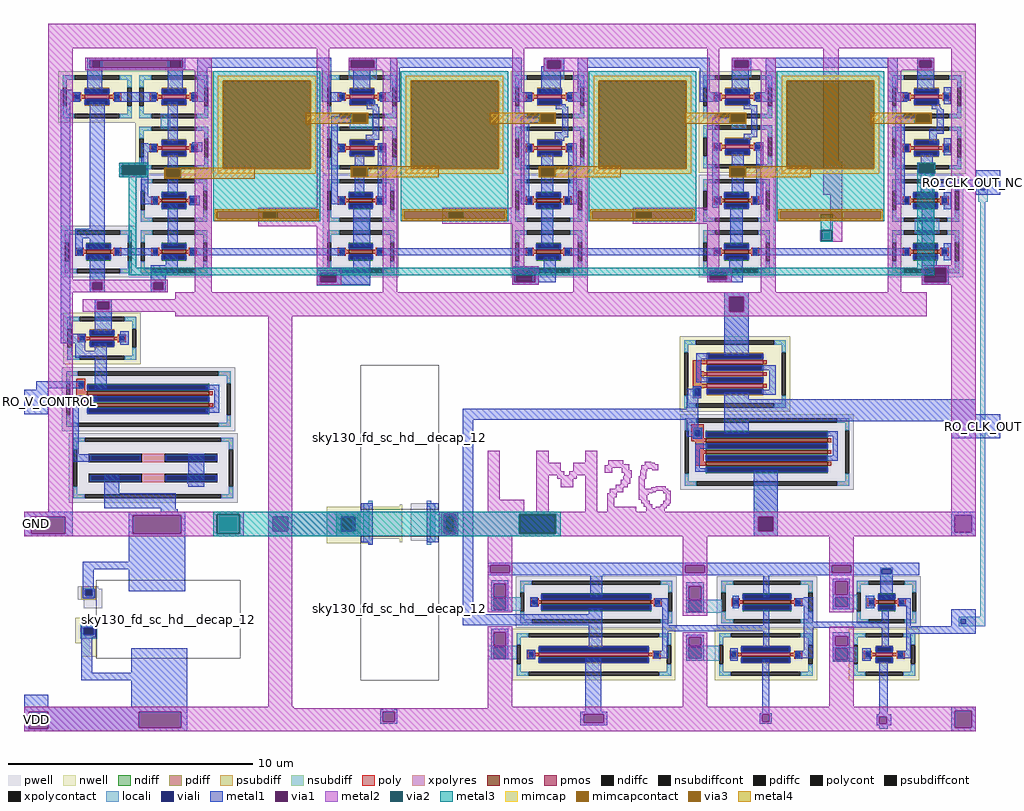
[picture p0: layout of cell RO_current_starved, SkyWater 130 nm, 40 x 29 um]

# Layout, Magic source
magic
tech sky130A
magscale 1 2
<< nwell >>
rect 3256 3008 3426 3012
rect 1880 2720 1900 2740
rect 6310 2590 6430 2660
rect 3350 2470 3420 2510
rect -580 -1680 -400 -1470
rect -530 -1790 -400 -1680
<< pwell >>
rect -560 -1230 -390 -1210
rect -560 -1320 -360 -1230
rect -510 -1391 -360 -1320
<< psubdiff >>
rect -530 -1240 -410 -1210
rect -530 -1290 -500 -1240
rect -440 -1290 -410 -1240
rect -530 -1320 -410 -1290
<< nsubdiff >>
rect -540 -1550 -400 -1520
rect -540 -1610 -510 -1550
rect -430 -1610 -400 -1550
rect -540 -1640 -400 -1610
<< psubdiffcont >>
rect -500 -1290 -440 -1240
<< nsubdiffcont >>
rect -510 -1610 -430 -1550
<< locali >>
rect -480 3100 -360 3120
rect -480 3040 -460 3100
rect -380 3040 -360 3100
rect -480 2940 -360 3040
rect 180 3100 300 3120
rect 180 3040 200 3100
rect 280 3040 300 3100
rect 180 2940 300 3040
rect 1660 3100 1890 3120
rect 1660 3040 1680 3100
rect 1870 3040 1890 3100
rect 1660 2940 1890 3040
rect 3260 3100 3430 3120
rect 3260 3030 3290 3100
rect 3400 3030 3430 3100
rect 3260 3010 3430 3030
rect 3250 2940 3430 3010
rect 4800 3100 4960 3120
rect 4800 3040 4820 3100
rect 4940 3040 4960 3100
rect 4800 2960 4960 3040
rect 6320 3100 6460 3120
rect 6320 3040 6340 3100
rect 6440 3040 6460 3100
rect 6320 2960 6460 3040
rect 120 2540 200 2660
rect 1670 2540 1860 2640
rect 4800 2540 4920 2640
rect 6820 2080 6900 2100
rect 6820 2040 6840 2080
rect 6880 2040 6900 2080
rect 6820 1940 6900 2040
rect 1700 1680 1830 1800
rect 3240 1680 3340 1800
rect 4790 1680 4890 1800
rect 6300 1680 6500 1800
rect -460 1280 -340 1380
rect -460 1220 -440 1280
rect -360 1220 -340 1280
rect -460 1200 -340 1220
rect 40 1280 160 1380
rect 40 1220 60 1280
rect 140 1220 160 1280
rect 1400 1360 1840 1390
rect 1400 1280 1430 1360
rect 1560 1280 1840 1360
rect 1400 1250 1840 1280
rect 3000 1360 3220 1410
rect 6360 1400 6580 1420
rect 3000 1290 3040 1360
rect 3160 1290 3220 1360
rect 3000 1260 3220 1290
rect 4600 1370 4800 1400
rect 4600 1300 4620 1370
rect 4760 1300 4800 1370
rect 4600 1280 4800 1300
rect 6360 1280 6380 1400
rect 6560 1280 6580 1400
rect 6360 1260 6580 1280
rect 40 1200 160 1220
rect -420 1120 -280 1140
rect -420 1060 -400 1120
rect -300 1060 -280 1120
rect -420 960 -280 1060
rect -520 -1240 -420 -1230
rect -520 -1290 -500 -1240
rect -440 -1290 -420 -1240
rect -520 -1310 -420 -1290
rect 6840 -1460 6880 1940
rect 6660 -1480 6880 -1460
rect 6660 -1520 6680 -1480
rect 6720 -1520 6880 -1480
rect -540 -1550 -400 -1520
rect 6660 -1540 6880 -1520
rect -540 -1610 -510 -1550
rect -430 -1610 -400 -1550
rect -540 -1640 -400 -1610
<< viali >>
rect -460 3040 -380 3100
rect 200 3040 280 3100
rect 1680 3040 1870 3100
rect 3290 3030 3400 3100
rect 4820 3040 4940 3100
rect 6340 3040 6440 3100
rect 6840 2040 6880 2080
rect -440 1220 -360 1280
rect 60 1220 140 1280
rect 1430 1280 1560 1360
rect 3040 1290 3160 1360
rect 4620 1300 4760 1370
rect 6380 1280 6560 1400
rect -400 1060 -300 1120
rect -500 -1290 -440 -1240
rect 6680 -1520 6720 -1480
rect -510 -1610 -430 -1550
<< metal1 >>
rect -480 3100 320 3120
rect -480 3040 -460 3100
rect 300 3040 320 3100
rect -480 3020 320 3040
rect 420 3040 1520 3120
rect -700 2840 -600 2860
rect -480 2840 -360 3020
rect 180 2840 300 3020
rect 420 2840 500 3040
rect -700 2760 -540 2840
rect -260 2760 80 2840
rect 380 2760 500 2840
rect 1440 2840 1520 3040
rect 1660 3100 1890 3120
rect 1660 3040 1680 3100
rect 1870 3040 1890 3100
rect 1660 3020 1890 3040
rect 2000 3040 3080 3120
rect 3260 3100 3430 3120
rect 3260 3050 3290 3100
rect 1700 2850 1840 3020
rect 2000 2840 2080 3040
rect 1440 2760 1600 2840
rect -700 860 -620 2760
rect -460 1720 -340 2760
rect 180 2420 260 2760
rect 1810 2740 1880 2770
rect 1920 2760 2080 2840
rect 3000 2840 3080 3040
rect 3240 3030 3290 3050
rect 3400 3030 3430 3100
rect 3240 3010 3430 3030
rect 3540 3040 4620 3120
rect 3240 2840 3400 3010
rect 3540 2840 3620 3040
rect 3000 2760 3160 2840
rect 3460 2760 3620 2840
rect 4540 2840 4620 3040
rect 4800 3100 4960 3120
rect 4800 3040 4820 3100
rect 4940 3040 4960 3100
rect 4800 3020 4960 3040
rect 5080 3040 6160 3120
rect 4800 2840 4940 3020
rect 5080 2840 5160 3040
rect 4540 2760 4700 2840
rect 5000 2760 5160 2840
rect 6080 2840 6160 3040
rect 6320 3100 6460 3120
rect 6320 3040 6340 3100
rect 6440 3040 6460 3100
rect 6320 2850 6460 3040
rect 6080 2760 6240 2840
rect 6540 2740 6600 2880
rect 1810 2720 1900 2740
rect 3360 2720 3440 2740
rect 4900 2730 4960 2740
rect 1810 2700 1910 2720
rect 3360 2700 3460 2720
rect 4900 2700 5010 2730
rect 6440 2710 6510 2740
rect 6440 2700 6520 2710
rect 1680 2660 1820 2670
rect 1680 2640 1690 2660
rect 1520 2590 1690 2640
rect 1810 2590 1820 2660
rect -40 2410 20 2420
rect -40 2350 80 2410
rect 380 2350 460 2430
rect 1520 2410 1570 2590
rect 1680 2580 1820 2590
rect 1860 2490 1910 2700
rect 3220 2660 3360 2670
rect 3220 2640 3230 2660
rect 1800 2450 1910 2490
rect 3070 2590 3230 2640
rect 3350 2590 3360 2660
rect 1800 2420 1870 2450
rect 1520 2350 1620 2410
rect -40 2260 20 2350
rect -220 2240 20 2260
rect -220 2160 -200 2240
rect 0 2160 20 2240
rect 180 2220 260 2340
rect -220 2140 20 2160
rect -40 1980 20 2140
rect 150 2210 290 2220
rect 150 2140 160 2210
rect 280 2140 290 2210
rect 150 2130 290 2140
rect 180 2000 260 2130
rect -40 1920 90 1980
rect -580 1640 -340 1720
rect -580 1500 -520 1640
rect -460 1560 -340 1640
rect 180 1580 260 1920
rect 360 1910 440 1990
rect 1520 1980 1570 2350
rect 1710 2230 1790 2330
rect 1680 2220 1820 2230
rect 1680 2150 1690 2220
rect 1810 2150 1820 2220
rect 1680 2140 1820 2150
rect 1710 1990 1790 2140
rect 1520 1920 1620 1980
rect 1900 1920 1970 2420
rect 3070 1920 3140 2590
rect 3220 2580 3360 2590
rect 3410 2510 3460 2700
rect 4780 2660 4920 2670
rect 4780 2630 4790 2660
rect 3350 2470 3460 2510
rect 4640 2590 4790 2630
rect 4910 2590 4920 2660
rect 4640 2580 4920 2590
rect 3350 2440 3430 2470
rect 3240 2230 3340 2340
rect 3220 2220 3360 2230
rect 3220 2150 3230 2220
rect 3350 2150 3360 2220
rect 3220 2140 3360 2150
rect 3240 1990 3340 2140
rect 3460 1920 3530 2420
rect 1700 1570 1840 1910
rect 3240 1570 3340 1910
rect 4640 1890 4700 2580
rect 4960 2500 5010 2700
rect 6300 2660 6440 2670
rect 6300 2640 6310 2660
rect 4900 2470 5010 2500
rect 6140 2590 6310 2640
rect 6430 2590 6440 2660
rect 6140 2580 6440 2590
rect 4900 2450 4960 2470
rect 4800 2230 4900 2350
rect 5000 2240 5060 2430
rect 4780 2220 4920 2230
rect 4780 2150 4790 2220
rect 4910 2150 4920 2220
rect 4780 2140 4920 2150
rect 4800 2000 4900 2140
rect 5000 2130 5040 2240
rect 5000 1920 5060 2130
rect 6140 1920 6220 2580
rect 6480 2540 6540 2700
rect 6420 2500 6540 2540
rect 6420 2420 6480 2500
rect 6350 2260 6450 2340
rect 6540 2320 6600 2460
rect 6330 2250 6470 2260
rect 6330 2180 6340 2250
rect 6460 2180 6470 2250
rect 6330 2170 6470 2180
rect 6350 2120 6450 2170
rect 6800 2120 7000 2200
rect 6350 2080 7000 2120
rect 6350 2060 6840 2080
rect 6350 1990 6450 2060
rect 6800 2040 6840 2060
rect 6880 2040 7000 2080
rect 4790 1580 4890 1900
rect 6360 1580 6460 1920
rect 6540 1880 6600 2020
rect 6800 2000 7000 2040
rect -240 1500 80 1560
rect 360 1500 1620 1560
rect 1900 1500 3160 1560
rect 3440 1500 4700 1560
rect 4980 1500 6240 1560
rect -460 1280 -340 1500
rect 160 1420 260 1500
rect -460 1220 -440 1280
rect -360 1220 -340 1280
rect -460 1200 -340 1220
rect 40 1340 260 1420
rect 1700 1380 1840 1490
rect 1400 1360 1840 1380
rect 40 1280 160 1340
rect 40 1220 60 1280
rect 140 1220 160 1280
rect 1400 1280 1430 1360
rect 1560 1280 1840 1360
rect 1400 1260 1840 1280
rect 3000 1380 3220 1410
rect 3260 1380 3360 1490
rect 4780 1400 4890 1480
rect 3000 1280 3020 1380
rect 3190 1280 3360 1380
rect 4600 1370 4890 1400
rect 4600 1300 4620 1370
rect 4760 1300 4890 1370
rect 4600 1280 4890 1300
rect 6360 1420 6480 1480
rect 6540 1460 6600 1600
rect 6360 1400 6580 1420
rect 6360 1280 6380 1400
rect 6560 1280 6580 1400
rect 3000 1260 3220 1280
rect 6360 1260 6580 1280
rect 40 1200 160 1220
rect -420 1120 -280 1140
rect -420 1060 -400 1120
rect -300 1060 -280 1120
rect -420 860 -280 1060
rect -700 780 -500 860
rect -580 720 -500 780
rect -420 720 -320 780
rect -210 770 -140 880
rect -580 660 -320 720
rect -900 410 -510 470
rect -900 400 -800 410
rect -420 400 -320 660
rect 490 400 600 440
rect -1000 200 -800 400
rect -600 300 -400 350
rect -600 -130 -550 300
rect 560 250 600 400
rect 490 210 600 250
rect 6800 0 7000 200
rect -600 -190 -460 -130
rect 345 -290 476 -125
rect -341 -449 -218 -299
rect 340 -370 476 -290
rect 345 -395 476 -370
rect -341 -572 242 -449
rect 119 -580 242 -572
rect 119 -600 260 -580
rect -1000 -640 -600 -600
rect -1000 -780 -940 -640
rect -660 -780 -600 -640
rect -1000 -800 -600 -780
rect -140 -630 320 -600
rect -140 -780 -110 -630
rect 290 -780 320 -630
rect -140 -1010 320 -780
rect -520 -1070 320 -1010
rect -520 -1230 -430 -1070
rect -520 -1240 -420 -1230
rect -520 -1290 -500 -1240
rect -440 -1290 -420 -1240
rect -140 -1250 320 -1070
rect -520 -1310 -420 -1290
rect -530 -1550 -410 -1530
rect -530 -1610 -510 -1550
rect -430 -1610 -410 -1550
rect -530 -1630 -410 -1610
rect -530 -1920 -440 -1630
rect -120 -1920 340 -1720
rect -530 -1980 340 -1920
rect -1000 -2200 -800 -2102
rect -120 -2200 340 -1980
rect -1000 -2240 340 -2200
rect -1000 -2380 -960 -2240
rect -800 -2370 -60 -2240
rect 290 -2370 340 -2240
rect -800 -2380 340 -2370
rect -1000 -2400 340 -2380
<< via1 >>
rect -440 3040 -380 3100
rect -380 3040 200 3100
rect 200 3040 280 3100
rect 280 3040 300 3100
rect 1680 3040 1870 3100
rect 3290 3030 3400 3100
rect 4820 3040 4940 3100
rect 6340 3040 6440 3100
rect 1690 2590 1810 2660
rect 3230 2590 3350 2660
rect -200 2160 0 2240
rect 160 2140 280 2210
rect 1690 2150 1810 2220
rect 4790 2590 4910 2660
rect 3230 2150 3350 2220
rect 6310 2590 6430 2660
rect 4790 2150 4910 2220
rect 6340 2180 6460 2250
rect -440 1220 -360 1280
rect 60 1220 140 1280
rect 1430 1280 1560 1360
rect 3020 1360 3190 1380
rect 3020 1290 3040 1360
rect 3040 1290 3160 1360
rect 3160 1290 3190 1360
rect 3020 1280 3190 1290
rect 4620 1300 4760 1370
rect 6380 1280 6560 1400
rect -400 1060 -300 1120
rect -940 -780 -660 -640
rect -110 -780 290 -630
rect -960 -2380 -800 -2240
rect -60 -2370 290 -2240
<< metal2 >>
rect -800 3200 6800 3400
rect -800 1300 -600 3200
rect -500 3100 540 3120
rect -500 3040 -440 3100
rect 300 3040 540 3100
rect -500 3020 540 3040
rect -220 2240 20 2260
rect -220 2160 -200 2240
rect 0 2160 20 2240
rect -220 2140 20 2160
rect 150 2210 290 2220
rect 150 2140 160 2210
rect 280 2140 290 2210
rect 150 2130 290 2140
rect -800 1280 180 1300
rect -800 1220 -440 1280
rect -360 1220 60 1280
rect 140 1220 180 1280
rect -800 1200 180 1220
rect 400 1200 540 3020
rect 1400 1890 1500 3200
rect 1660 3100 2060 3120
rect 1660 3040 1680 3100
rect 1870 3040 2060 3100
rect 1660 3020 2060 3040
rect 1680 2660 1820 2670
rect 1680 2590 1690 2660
rect 1810 2590 1820 2660
rect 1680 2580 1820 2590
rect 1680 2220 1820 2230
rect 1680 2150 1690 2220
rect 1810 2150 1820 2220
rect 1680 2140 1820 2150
rect 920 1860 1500 1890
rect 920 1800 960 1860
rect 1060 1800 1500 1860
rect 920 1740 1500 1800
rect 1400 1400 1500 1740
rect 1400 1360 1600 1400
rect 1400 1280 1430 1360
rect 1560 1280 1600 1360
rect 1400 1260 1600 1280
rect -800 -600 -600 1200
rect 240 1140 1700 1200
rect -520 1120 1700 1140
rect -520 1060 -400 1120
rect -300 1060 1700 1120
rect -520 1040 1700 1060
rect 240 1000 1700 1040
rect 1940 1000 2060 3020
rect 3000 1890 3100 3200
rect 3260 3100 3620 3120
rect 3260 3030 3290 3100
rect 3400 3030 3620 3100
rect 3260 3010 3620 3030
rect 3220 2660 3360 2670
rect 3220 2590 3230 2660
rect 3350 2590 3360 2660
rect 3220 2580 3360 2590
rect 3220 2220 3360 2230
rect 3220 2150 3230 2220
rect 3350 2150 3360 2220
rect 3220 2140 3360 2150
rect 2430 1860 3100 1890
rect 2430 1800 2490 1860
rect 2590 1800 3100 1860
rect 2430 1760 3100 1800
rect 3000 1410 3100 1760
rect 3000 1380 3220 1410
rect 3000 1280 3020 1380
rect 3190 1280 3220 1380
rect 3000 1260 3220 1280
rect 2460 1020 2620 1200
rect 3500 1000 3620 3010
rect 4600 1890 4700 3200
rect 4800 3100 5160 3120
rect 4800 3040 4820 3100
rect 4940 3040 5160 3100
rect 4800 3020 5160 3040
rect 4780 2660 4920 2670
rect 4780 2590 4790 2660
rect 4910 2590 4920 2660
rect 4780 2580 4920 2590
rect 4780 2220 4920 2230
rect 4780 2150 4790 2220
rect 4910 2150 4920 2220
rect 4780 2140 4920 2150
rect 3990 1860 4700 1890
rect 3990 1800 4020 1860
rect 4140 1800 4700 1860
rect 3990 1760 4700 1800
rect 4600 1400 4700 1760
rect 4600 1370 4800 1400
rect 4600 1300 4620 1370
rect 4760 1300 4800 1370
rect 4600 1280 4800 1300
rect 4000 1020 4160 1200
rect 5040 1000 5160 3020
rect 5550 2269 5680 3200
rect 6080 3100 6460 3120
rect 6080 3040 6340 3100
rect 6440 3040 6460 3100
rect 6080 3020 6460 3040
rect 5550 2000 5709 2269
rect 5610 1710 5709 2000
rect 5531 1705 5709 1710
rect 5527 1616 5536 1705
rect 5625 1616 5709 1705
rect 5531 1611 5709 1616
rect 5540 1000 5700 1200
rect 6080 1000 6190 3020
rect 6300 2660 6440 2670
rect 6300 2590 6310 2660
rect 6430 2590 6440 2660
rect 6300 2580 6440 2590
rect 6330 2250 6470 2260
rect 6330 2180 6340 2250
rect 6460 2180 6470 2250
rect 6330 2170 6470 2180
rect 6600 1420 6800 3200
rect 6360 1400 6800 1420
rect 6360 1280 6380 1400
rect 6560 1280 6800 1400
rect 6360 1260 6800 1280
rect 2800 -500 2900 -100
rect 3200 -200 3300 -100
rect 3600 -200 3700 -100
rect 3200 -270 3400 -200
rect 3500 -270 3700 -200
rect 3790 -210 3910 -180
rect 4090 -200 4140 -190
rect 4090 -210 4170 -200
rect 3790 -220 3960 -210
rect 4090 -220 4200 -210
rect 3200 -300 3430 -270
rect 3470 -300 3700 -270
rect 3760 -240 3960 -220
rect 3760 -280 3820 -240
rect 3900 -260 3960 -240
rect 4060 -250 4200 -220
rect 4060 -260 4110 -250
rect 4150 -260 4200 -250
rect 3900 -280 3980 -260
rect 2800 -600 3100 -500
rect 3200 -600 3300 -300
rect 3370 -330 3530 -300
rect 3400 -400 3500 -330
rect 3600 -600 3700 -300
rect 3920 -310 3980 -280
rect 4050 -270 4110 -260
rect 4050 -310 4100 -270
rect 3910 -320 3980 -310
rect 3910 -340 3970 -320
rect 3890 -370 3970 -340
rect 4040 -330 4100 -310
rect 3890 -380 3950 -370
rect 3850 -400 3950 -380
rect 3850 -410 3910 -400
rect 3800 -440 3910 -410
rect 4040 -410 4090 -330
rect 4180 -400 4260 -390
rect 4140 -410 4260 -400
rect 4040 -430 4280 -410
rect 4040 -440 4180 -430
rect 3800 -450 3860 -440
rect 3780 -480 3860 -450
rect 4040 -450 4150 -440
rect 4240 -450 4300 -430
rect 4040 -460 4120 -450
rect 3780 -560 3840 -480
rect 4040 -500 4110 -460
rect 4060 -510 4110 -500
rect 4260 -510 4300 -450
rect 4060 -530 4130 -510
rect 4080 -540 4130 -530
rect 4240 -530 4300 -510
rect 4240 -540 4290 -530
rect 4080 -560 4150 -540
rect 4220 -550 4290 -540
rect 4220 -560 4270 -550
rect 3780 -600 4020 -560
rect 4100 -570 4150 -560
rect 4180 -570 4270 -560
rect 4100 -600 4250 -570
rect -1000 -620 800 -600
rect 4100 -610 4180 -600
rect 4130 -620 4180 -610
rect -1000 -630 580 -620
rect -1000 -640 -110 -630
rect -1000 -780 -940 -640
rect -660 -780 -110 -640
rect 290 -780 580 -630
rect 770 -780 800 -620
rect -1000 -800 800 -780
rect 6600 -800 6800 1260
rect -1000 -2240 1200 -2200
rect -1000 -2380 -960 -2240
rect -800 -2370 -60 -2240
rect 290 -2370 1200 -2240
rect -800 -2380 1200 -2370
rect -1000 -2400 1200 -2380
<< via2 >>
rect -200 2160 0 2240
rect 160 2140 280 2210
rect 1690 2590 1810 2660
rect 1690 2150 1810 2220
rect 960 1800 1060 1860
rect 3230 2590 3350 2660
rect 3230 2150 3350 2220
rect 2490 1800 2590 1860
rect 4790 2590 4910 2660
rect 4790 2150 4910 2220
rect 4020 1800 4140 1860
rect 5536 1616 5625 1705
rect 6310 2590 6430 2660
rect 6340 2180 6460 2250
rect 580 -780 770 -620
rect 3060 -780 3360 -620
<< metal3 >>
rect 1680 2660 1820 2670
rect 1680 2590 1690 2660
rect 1810 2590 1820 2660
rect 1680 2580 1820 2590
rect 3220 2660 3360 2670
rect 3220 2590 3230 2660
rect 3350 2590 3360 2660
rect 3220 2580 3360 2590
rect 4780 2660 4920 2670
rect 4780 2590 4790 2660
rect 4910 2590 4920 2660
rect 4780 2580 4920 2590
rect 6300 2660 6440 2670
rect 6300 2590 6310 2660
rect 6430 2590 6440 2660
rect 6300 2580 6440 2590
rect -220 2240 20 2260
rect -220 2160 -200 2240
rect 0 2160 20 2240
rect 6320 2250 6470 2260
rect 1680 2220 1820 2230
rect -220 2140 20 2160
rect 150 2210 290 2220
rect 150 2140 160 2210
rect 280 2140 290 2210
rect 1680 2150 1690 2220
rect 1810 2150 1820 2220
rect 1680 2140 1820 2150
rect 3220 2220 3360 2230
rect 3220 2150 3230 2220
rect 3350 2150 3360 2220
rect 3220 2140 3360 2150
rect 4780 2220 4920 2230
rect 4780 2150 4790 2220
rect 4910 2150 4920 2220
rect 4780 2140 4920 2150
rect 6320 2180 6340 2250
rect 6460 2180 6470 2250
rect 6320 2170 6470 2180
rect -140 1400 -80 2140
rect 150 2130 290 2140
rect 1060 1800 1080 1860
rect 2480 1800 2490 1860
rect 2590 1800 2600 1860
rect 5531 1705 5630 1840
rect 5531 1616 5536 1705
rect 5625 1616 5630 1705
rect 5531 1611 5630 1616
rect 6320 1400 6460 2170
rect -140 1340 6460 1400
rect 550 -620 3400 -600
rect 550 -780 580 -620
rect 770 -780 3060 -620
rect 3360 -780 3400 -620
rect 550 -800 3400 -780
<< via3 >>
rect 1690 2590 1810 2660
rect 3230 2590 3350 2660
rect 4790 2590 4910 2660
rect 6310 2590 6430 2660
rect 160 2140 280 2210
rect 1690 2150 1810 2220
rect 3230 2150 3350 2220
rect 4790 2150 4910 2220
<< metal4 >>
rect 1310 2660 1820 2670
rect 1310 2590 1690 2660
rect 1810 2590 1820 2660
rect 1310 2580 1820 2590
rect 2820 2660 3360 2670
rect 2820 2590 3230 2660
rect 3350 2590 3360 2660
rect 2820 2580 3360 2590
rect 4420 2660 4920 2670
rect 4420 2590 4790 2660
rect 4910 2590 4920 2660
rect 4420 2580 4920 2590
rect 5940 2660 6440 2670
rect 5940 2590 6310 2660
rect 6430 2590 6440 2660
rect 5940 2580 6440 2590
rect 1680 2220 2400 2230
rect 150 2210 890 2220
rect 150 2140 160 2210
rect 280 2140 890 2210
rect 1680 2150 1690 2220
rect 1810 2150 2400 2220
rect 1680 2140 2400 2150
rect 3220 2220 3890 2230
rect 3220 2150 3230 2220
rect 3350 2150 3890 2220
rect 3220 2140 3890 2150
rect 4780 2220 5450 2230
rect 4780 2150 4790 2220
rect 4910 2150 5450 2220
rect 4780 2140 5450 2150
rect 150 2130 890 2140
use sky130_fd_sc_hd__decap_12  sky130_fd_sc_hd__decap_12_0 $PDKPATH/libs.ref/sky130_fd_sc_hd/mag
transform -1 0 736 0 -1 -1208
box -38 -48 1142 592
use output_buffer  x1
transform -1 0 5800 0 -1 -3200
box -1000 -4400 4800 -800
use sky130_fd_pr__cap_mim_m3_1_Q5V7W8  XC1
transform 0 1 2530 -1 0 2396
box -616 -440 616 440
use sky130_fd_pr__cap_mim_m3_1_Q5V7W8  XC2
transform 0 1 4070 -1 0 2396
box -616 -440 616 440
use sky130_fd_pr__cap_mim_m3_1_Q5V7W8  XC3
transform 0 1 5610 -1 0 2396
box -616 -440 616 440
use sky130_fd_pr__cap_mim_m3_1_Q5V7W8  XC6
transform 0 1 990 -1 0 2396
box -616 -440 616 440
use sky130_fd_pr__nfet_01v8_34VMYE  XM1
transform 0 1 230 -1 0 1951
box -211 -310 211 310
use sky130_fd_pr__pfet_01v8_7HN6Y2  XM2
transform 0 1 229 -1 0 2381
box -211 -319 211 319
use sky130_fd_pr__pfet_01v8_7HN6Y2  XM3
transform 0 1 229 -1 0 2801
box -211 -319 211 319
use sky130_fd_pr__nfet_01v8_34VMYE  XM4
transform 0 1 230 -1 0 1531
box -211 -310 211 310
use sky130_fd_pr__nfet_01v8_34VMYE  XM5
transform 0 1 1760 -1 0 1951
box -211 -310 211 310
use sky130_fd_pr__pfet_01v8_7HN6Y2  XM6
transform 0 1 1769 -1 0 2381
box -211 -319 211 319
use sky130_fd_pr__pfet_01v8_7HN6Y2  XM7
transform 0 1 1769 -1 0 2801
box -211 -319 211 319
use sky130_fd_pr__nfet_01v8_34VMYE  XM8
transform 0 1 1760 -1 0 1531
box -211 -310 211 310
use sky130_fd_pr__nfet_01v8_34VMYE  XM9
transform 0 1 3300 -1 0 1951
box -211 -310 211 310
use sky130_fd_pr__pfet_01v8_7HN6Y2  XM10
transform 0 1 3309 -1 0 2381
box -211 -319 211 319
use sky130_fd_pr__pfet_01v8_7HN6Y2  XM11
transform 0 1 3309 -1 0 2801
box -211 -319 211 319
use sky130_fd_pr__nfet_01v8_34VMYE  XM12
transform 0 1 3300 -1 0 1531
box -211 -310 211 310
use sky130_fd_pr__nfet_01v8_34VMYE  XM13
transform 0 1 4840 -1 0 1951
box -211 -310 211 310
use sky130_fd_pr__pfet_01v8_7HN6Y2  XM14
transform 0 1 4849 -1 0 2391
box -211 -319 211 319
use sky130_fd_pr__pfet_01v8_7HN6Y2  XM15
transform 0 1 4849 -1 0 2801
box -211 -319 211 319
use sky130_fd_pr__nfet_01v8_34VMYE  XM16
transform 0 1 4840 -1 0 1531
box -211 -310 211 310
use sky130_fd_pr__nfet_01v8_34VMYE  XM17
transform 0 1 6390 -1 0 1951
box -211 -310 211 310
use sky130_fd_pr__pfet_01v8_7HN6Y2  XM18
transform 0 1 6399 -1 0 2381
box -211 -319 211 319
use sky130_fd_pr__pfet_01v8_7HN6Y2  XM19
transform 0 1 6399 -1 0 2801
box -211 -319 211 319
use sky130_fd_pr__nfet_01v8_34VMYE  XM20
transform 0 1 6390 -1 0 1531
box -211 -310 211 310
use sky130_fd_pr__pfet_01v8_7HN6Y2  XM21
transform 0 1 -401 -1 0 2801
box -211 -319 211 319
use sky130_fd_pr__nfet_01v8_34VMYE  XM22
transform 0 1 -390 -1 0 1531
box -211 -310 211 310
use sky130_fd_pr__nfet_01v8_8M5RUJ  XM23
transform 0 1 20 -1 0 323
box -263 -710 263 710
use sky130_fd_pr__pfet_01v8_7HN6Y2  XM24
transform 0 1 -361 -1 0 821
box -211 -319 211 319
use sky130_fd_pr__res_xhigh_po_0p35_H374FY  XRA
transform 0 1 58 -1 0 -242
box -284 -692 284 692
<< labels >>
flabel metal1 -1000 200 -800 400 0 FreeSans 1600 0 0 0 RO_V_CONTROL
port 1 nsew
flabel metal1 -1000 -800 -800 -600 0 FreeSans 1600 0 0 0 GND
port 3 nsew
flabel metal1 -1000 -2400 -800 -2200 0 FreeSans 1600 0 0 0 VDD
port 2 nsew
flabel metal1 6800 2000 7000 2200 0 FreeSans 1600 0 0 0 RO_CLK_OUT_NC
port 4 nsew
flabel metal1 6800 0 7000 200 0 FreeSans 1600 0 0 0 RO_CLK_OUT
port 0 nsew
<< end >>

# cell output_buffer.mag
magic
tech sky130A
magscale 1 2
<< nwell >>
rect 3940 -2340 3980 -2330
rect 3700 -2380 3720 -2350
rect 3940 -2370 4320 -2340
rect 3970 -2380 4320 -2370
rect 3700 -2640 4320 -2380
rect 3700 -2660 3720 -2640
rect 3970 -2650 4010 -2640
rect 3940 -2670 4010 -2650
rect 3940 -2690 3980 -2670
<< pwell >>
rect 3240 -2600 3400 -2400
rect 3470 -2670 3630 -2360
<< psubdiff >>
rect 3240 -2440 3380 -2400
rect 3240 -2560 3280 -2440
rect 3340 -2560 3380 -2440
rect 3240 -2600 3380 -2560
<< nsubdiff >>
rect 4040 -2440 4240 -2400
rect 4040 -2560 4080 -2440
rect 4200 -2560 4240 -2440
rect 4040 -2600 4240 -2560
<< psubdiffcont >>
rect 3280 -2560 3340 -2440
<< nsubdiffcont >>
rect 4080 -2560 4200 -2440
<< locali >>
rect -30 -1390 170 -1370
rect -30 -1480 50 -1390
rect 150 -1480 170 -1390
rect -30 -1490 170 -1480
rect 1100 -1400 1370 -1380
rect 1100 -1490 1250 -1400
rect 1350 -1490 1370 -1400
rect 1100 -1500 1370 -1490
rect 2760 -1400 3000 -1390
rect 2760 -1490 2850 -1400
rect 2950 -1490 3000 -1400
rect 2760 -1500 3000 -1490
rect 1080 -1780 1370 -1770
rect -30 -1820 170 -1800
rect -30 -1900 50 -1820
rect 150 -1900 170 -1820
rect 1080 -1870 1250 -1780
rect 1350 -1870 1370 -1780
rect 1080 -1880 1370 -1870
rect 2730 -1800 2970 -1790
rect 2730 -1890 2850 -1800
rect 2950 -1890 2970 -1800
rect 2730 -1900 2970 -1890
rect -30 -1920 170 -1900
rect -320 -2090 -220 -2000
rect -320 -2130 -310 -2090
rect -230 -2130 -220 -2090
rect -320 -2140 -220 -2130
rect 3460 -2350 3500 -2330
rect 3430 -2380 3500 -2350
rect 3940 -2350 3980 -2330
rect 3940 -2370 4020 -2350
rect 620 -2440 820 -2400
rect 620 -2560 660 -2440
rect 780 -2560 820 -2440
rect 620 -2840 820 -2560
rect 3240 -2420 3380 -2400
rect 3240 -2580 3260 -2420
rect 3360 -2580 3380 -2420
rect 3240 -2600 3380 -2580
rect 3430 -2640 3470 -2380
rect 3430 -2670 3500 -2640
rect 3970 -2650 4020 -2370
rect 4060 -2440 4240 -2400
rect 4060 -2560 4080 -2440
rect 4200 -2560 4240 -2440
rect 4060 -2600 4240 -2560
rect 3460 -2690 3500 -2670
rect 3940 -2670 4020 -2650
rect 3940 -2690 3980 -2670
rect 860 -4240 1060 -3980
rect 860 -4360 900 -4240
rect 1020 -4360 1060 -4240
rect 860 -4400 1060 -4360
<< viali >>
rect 50 -1480 150 -1390
rect 1250 -1490 1350 -1400
rect 2850 -1490 2950 -1400
rect 50 -1900 150 -1820
rect 1250 -1870 1350 -1780
rect 2850 -1890 2950 -1800
rect -310 -2130 -230 -2090
rect 660 -2560 780 -2440
rect 3260 -2440 3360 -2420
rect 3260 -2560 3280 -2440
rect 3280 -2560 3340 -2440
rect 3340 -2560 3360 -2440
rect 3260 -2580 3360 -2560
rect 4100 -2560 4200 -2440
rect 900 -4360 1020 -4240
<< metal1 >>
rect -1000 -830 -800 -800
rect -1000 -970 -970 -830
rect -830 -970 -800 -830
rect -280 -850 -210 -820
rect -310 -860 -190 -850
rect -310 -920 -270 -860
rect -210 -920 -190 -860
rect -310 -940 -190 -920
rect 670 -880 770 -860
rect 670 -940 690 -880
rect 750 -940 770 -880
rect -1000 -1000 -800 -970
rect -280 -1370 -210 -940
rect 670 -950 770 -940
rect 2020 -870 2240 -850
rect 2020 -940 2050 -870
rect 2210 -940 2240 -870
rect -470 -1460 -360 -1400
rect -470 -1600 -430 -1460
rect -140 -1480 -70 -1380
rect 30 -1390 170 -1380
rect 690 -1390 750 -950
rect 2020 -960 2240 -940
rect 3740 -880 3880 -860
rect 3740 -960 3760 -880
rect 3860 -960 3880 -880
rect 30 -1480 50 -1390
rect 150 -1480 170 -1390
rect -1000 -1660 -430 -1600
rect -1000 -1800 -800 -1660
rect -470 -1830 -430 -1660
rect -290 -1650 -230 -1490
rect 30 -1500 170 -1480
rect 30 -1580 50 -1500
rect 150 -1580 170 -1500
rect 30 -1610 170 -1580
rect 330 -1460 470 -1400
rect 330 -1650 410 -1460
rect 950 -1480 1010 -1380
rect 1230 -1400 1370 -1380
rect 2070 -1400 2200 -960
rect 3740 -980 3880 -960
rect 3770 -990 3850 -980
rect 1230 -1490 1250 -1400
rect 1350 -1490 1370 -1400
rect -290 -1700 410 -1650
rect -290 -1800 -230 -1700
rect -470 -1890 -370 -1830
rect -320 -2080 -220 -1890
rect -170 -1910 -100 -1810
rect 30 -1820 170 -1800
rect 30 -1900 50 -1820
rect 150 -1900 170 -1820
rect 330 -1830 410 -1700
rect 690 -1620 740 -1490
rect 1230 -1500 1370 -1490
rect 1230 -1570 1250 -1500
rect 1350 -1570 1370 -1500
rect 1230 -1590 1370 -1570
rect 1520 -1460 1640 -1400
rect 1520 -1620 1570 -1460
rect 2610 -1470 2680 -1390
rect 2830 -1400 2970 -1390
rect 690 -1670 1570 -1620
rect 690 -1800 740 -1670
rect 1230 -1780 1370 -1770
rect 330 -1890 470 -1830
rect 330 -1900 410 -1890
rect 30 -1920 170 -1900
rect 30 -2030 50 -1920
rect 150 -2030 170 -1920
rect 30 -2050 170 -2030
rect 690 -2080 740 -1900
rect 940 -1910 990 -1810
rect 1230 -1870 1250 -1780
rect 1350 -1870 1370 -1780
rect 1230 -1880 1370 -1870
rect 1230 -1990 1250 -1880
rect 1350 -1990 1370 -1880
rect 1520 -1820 1570 -1670
rect 2060 -1670 2170 -1480
rect 2830 -1490 2850 -1400
rect 2950 -1490 2970 -1400
rect 2830 -1500 2970 -1490
rect 2830 -1610 2850 -1500
rect 2950 -1610 2970 -1500
rect 2830 -1640 2970 -1610
rect 2060 -1760 3205 -1670
rect 2060 -1810 2170 -1760
rect 2830 -1800 2970 -1790
rect 1520 -1890 1620 -1820
rect 2590 -1900 2650 -1820
rect 2830 -1890 2850 -1800
rect 2950 -1890 2970 -1800
rect 2830 -1900 2970 -1890
rect 1230 -2020 1370 -1990
rect 2060 -2080 2160 -1900
rect 2830 -2010 2850 -1900
rect 2950 -2010 2970 -1900
rect 2830 -2040 2970 -2010
rect -540 -2090 3000 -2080
rect -540 -2130 -310 -2090
rect -230 -2100 3000 -2090
rect -230 -2130 20 -2100
rect -540 -2160 20 -2130
rect 180 -2160 1220 -2100
rect 1380 -2160 2820 -2100
rect 2980 -2160 3000 -2100
rect -540 -2180 3000 -2160
rect -1000 -2430 -800 -2400
rect -1000 -2570 -970 -2430
rect -830 -2570 -800 -2430
rect -1000 -2600 -800 -2570
rect 620 -2440 820 -2400
rect 620 -2560 660 -2440
rect 780 -2560 820 -2440
rect 620 -2940 820 -2560
rect -1000 -3340 -800 -3200
rect 860 -3340 1060 -3240
rect -1000 -3520 1060 -3340
rect 860 -3580 1060 -3520
rect 1273 -3355 1367 -3213
rect 3116 -3355 3205 -1760
rect 3940 -2350 3980 -2330
rect 3400 -2400 3500 -2350
rect 3240 -2420 3500 -2400
rect 3240 -2580 3260 -2420
rect 3360 -2580 3500 -2420
rect 3240 -2600 3500 -2580
rect 3400 -2670 3500 -2600
rect 3940 -2400 4040 -2350
rect 3940 -2440 4800 -2400
rect 3940 -2560 4100 -2440
rect 4200 -2560 4640 -2440
rect 4760 -2560 4800 -2440
rect 3940 -2600 4800 -2560
rect 3940 -2670 4040 -2600
rect 1273 -3444 3205 -3355
rect 1273 -3607 1367 -3444
rect 860 -4240 1060 -3880
rect 860 -4360 900 -4240
rect 1020 -4360 1060 -4240
rect 860 -4400 1060 -4360
<< via1 >>
rect -970 -970 -830 -830
rect -270 -920 -210 -860
rect 690 -940 750 -880
rect 2050 -940 2210 -870
rect 3760 -960 3860 -880
rect 50 -1580 150 -1500
rect 1250 -1570 1350 -1500
rect 50 -2030 150 -1920
rect 1250 -1990 1350 -1880
rect 2850 -1610 2950 -1500
rect 2850 -2010 2950 -1900
rect 20 -2160 180 -2100
rect 1220 -2160 1380 -2100
rect 2820 -2160 2980 -2100
rect -970 -2570 -830 -2430
rect 660 -2560 780 -2440
rect 3260 -2580 3360 -2420
rect 4640 -2560 4760 -2440
rect 900 -4360 1020 -4240
<< metal2 >>
rect -1000 -830 4800 -800
rect -1000 -970 -970 -830
rect -830 -860 4800 -830
rect -830 -920 -270 -860
rect -210 -870 4800 -860
rect -210 -880 2050 -870
rect -210 -920 690 -880
rect -830 -940 690 -920
rect 750 -940 2050 -880
rect 2210 -880 4800 -870
rect 2210 -940 3760 -880
rect -830 -960 3760 -940
rect 3860 -960 4800 -880
rect -830 -970 4800 -960
rect -1000 -990 4800 -970
rect -1000 -1000 3000 -990
rect 4590 -1000 4800 -990
rect 0 -1500 200 -1000
rect 0 -1580 50 -1500
rect 150 -1580 200 -1500
rect 0 -1658 200 -1580
rect 1200 -1500 1400 -1000
rect 1200 -1570 1250 -1500
rect 1350 -1570 1400 -1500
rect 1200 -1610 1400 -1570
rect 2800 -1500 3000 -1000
rect 2800 -1610 2850 -1500
rect 2950 -1610 3000 -1500
rect 2800 -1660 3000 -1610
rect 0 -1920 200 -1774
rect 0 -2030 50 -1920
rect 150 -2030 200 -1920
rect 0 -2100 200 -2030
rect 0 -2160 20 -2100
rect 180 -2160 200 -2100
rect 0 -2400 200 -2160
rect 1200 -1880 1400 -1748
rect 1200 -1990 1250 -1880
rect 1350 -1990 1400 -1880
rect 1200 -2100 1400 -1990
rect 1200 -2160 1220 -2100
rect 1380 -2160 1400 -2100
rect 1200 -2400 1400 -2160
rect 2800 -1900 3000 -1776
rect 2800 -2010 2850 -1900
rect 2950 -2010 3000 -1900
rect 2800 -2100 3000 -2010
rect 2800 -2160 2820 -2100
rect 2980 -2160 3000 -2100
rect 2800 -2400 3000 -2160
rect -1000 -2420 3400 -2400
rect -1000 -2430 3260 -2420
rect -1000 -2570 -970 -2430
rect -830 -2440 3260 -2430
rect -830 -2560 660 -2440
rect 780 -2560 3260 -2440
rect -830 -2570 3260 -2560
rect -1000 -2580 3260 -2570
rect 3360 -2580 3400 -2420
rect -1000 -2600 3400 -2580
rect 4600 -2440 4800 -1000
rect 4600 -2560 4640 -2440
rect 4760 -2560 4800 -2440
rect 4600 -4200 4800 -2560
rect -600 -4240 4800 -4200
rect -600 -4360 900 -4240
rect 1020 -4360 4800 -4240
rect -600 -4400 4800 -4360
use sky130_fd_sc_hd__decap_12  sky130_fd_sc_hd__decap_12_0 $PDKPATH/libs.ref/sky130_fd_sc_hd/mag
transform 0 1 3448 -1 0 -1258
box -38 -48 1142 592
use sky130_fd_sc_hd__decap_12  sky130_fd_sc_hd__decap_12_1
transform 0 1 3448 -1 0 -2658
box -38 -48 1142 592
use sky130_fd_pr__nfet_01v8_EUVAEG  XM25
transform 0 -1 710 1 0 -3089
box -311 -710 311 710
use sky130_fd_pr__pfet_01v8_FRYS2W  XM26
transform 0 -1 972 1 0 -3729
box -311 -452 311 452
use sky130_fd_pr__nfet_01v8_24CRNP  XM31
transform 0 1 -270 -1 0 -1859
box -211 -280 211 280
use sky130_fd_pr__pfet_01v8_DJSDVV  XM32
transform 0 1 -251 -1 0 -1429
box -211 -289 211 289
use sky130_fd_pr__nfet_01v8_NK2ZG9  XM33
transform 0 1 710 -1 0 -1859
box -211 -410 211 410
use sky130_fd_pr__pfet_01v8_VJT448  XM34
transform 0 1 719 -1 0 -1429
box -211 -419 211 419
use sky130_fd_pr__nfet_01v8_JPVZFC  XM35
transform 0 1 2110 -1 0 -1859
box -211 -660 211 660
use sky130_fd_pr__pfet_01v8_YNF6CZ  XM36
transform 0 1 2129 -1 0 -1429
box -211 -669 211 669
<< labels >>
flabel metal1 -1000 -2600 -800 -2400 0 FreeSans 1600 0 0 0 GND
port 3 nsew
flabel metal1 -1000 -1800 -800 -1600 0 FreeSans 1600 0 0 0 A
port 1 nsew
flabel metal1 -1000 -3400 -800 -3200 0 FreeSans 1600 0 0 0 Y
port 0 nsew
flabel metal1 -1000 -1000 -830 -800 0 FreeSans 1600 0 0 0 VDD
port 2 nsew
<< end >>

# cell sky130_fd_pr__cap_mim_m3_1_Q5V7W8: kit device sky130_fd_pr__cap_mim_m3_1, w 4.0 l 4.0 val 35.04 carea 2.00 cperi 0.19 class capacitor nx 1 ny 1 dummy 0 square 0 lmin 2.00 wmin 2.00 lmax 30.0 wmax 30.0 dc 0 bconnect 1 tconnect 1 ccov 100 stack 1 doports 1

# cell sky130_fd_pr__nfet_01v8_34VMYE: kit device sky130_fd_pr__nfet_01v8, w 1.0 l 0.15 m 1 nf 1 diffcov 100 polycov 100 guard 1 glc 1 grc 1 gtc 1 gbc 1 tbcov 100 rlcov 100 topc 1 botc 1 poverlap 0 doverlap 1 lmin 0.15 wmin 0.42 class mosfet compatible {sky130_fd_pr__nfet_01v8 sky130_fd_pr__nfet_01v8_lvt sky130_fd_bs_flash__special_sonosfet_star sky130_fd_pr__nfet_g5v0d10v5 sky130_fd_pr__nfet_05v0_nvt sky130_fd_pr__nfet_03v3_nvt} full_metal 1 conn_gates 0 viasrc 100 viadrn 100 viagate 100 viagb 0 viagr 0 viagl 0 viagt 0 doports 1

# cell sky130_fd_pr__pfet_01v8_7HN6Y2: kit device sky130_fd_pr__pfet_01v8, w 1.0 l 0.15 m 1 nf 1 diffcov 100 polycov 100 guard 1 glc 1 grc 1 gtc 1 gbc 1 tbcov 100 rlcov 100 topc 1 botc 1 poverlap 0 doverlap 1 lmin 0.15 wmin 0.42 class mosfet compatible {sky130_fd_pr__pfet_01v8 sky130_fd_pr__pfet_01v8_lvt sky130_fd_pr__pfet_01v8_hvt sky130_fd_pr__pfet_g5v0d10v5} full_metal 1 conn_gates 0 viasrc 100 viadrn 100 viagate 100 viagb 0 viagr 0 viagl 0 viagt 0 doports 1

# cell sky130_fd_pr__nfet_01v8_8M5RUJ: kit device sky130_fd_pr__nfet_01v8, w 5.0 l 0.15 m 1 nf 2 diffcov 100 polycov 100 guard 1 glc 1 grc 1 gtc 1 gbc 1 tbcov 100 rlcov 100 topc 1 botc 1 poverlap 0 doverlap 1 lmin 0.15 wmin 0.42 class mosfet compatible {sky130_fd_pr__nfet_01v8 sky130_fd_pr__nfet_01v8_lvt sky130_fd_bs_flash__special_sonosfet_star sky130_fd_pr__nfet_g5v0d10v5 sky130_fd_pr__nfet_05v0_nvt sky130_fd_pr__nfet_03v3_nvt} full_metal 1 conn_gates 0 viasrc 100 viadrn 100 viagate 100 viagb 0 viagr 0 viagl 0 viagt 0 doports 1

# cell sky130_fd_pr__res_xhigh_po_0p35_H374FY: kit device sky130_fd_pr__res_xhigh_po_0p35, w 0.35 l 1.1 m 1 nx 2 wmin 0.350 lmin 0.50 class resistor rho 2000 val 7.361k dummy 0 dw 0.0 term 188.2 sterm 0.0 caplen 0 wmax 0.350 guard 1 glc 1 grc 1 gtc 1 gbc 1 compatible {sky130_fd_pr__res_xhigh_po_0p35 sky130_fd_pr__res_xhigh_po_0p69 sky130_fd_pr__res_xhigh_po_1p41 sky130_fd_pr__res_xhigh_po_2p85 sky130_fd_pr__res_xhigh_po_5p73} snake 0 full_metal 1 n_guard 0 hv_guard 0 vias 1 viagb 0 viagt 0 viagl 0 viagr 0 doports 1

# cell sky130_fd_pr__nfet_01v8_EUVAEG: kit device sky130_fd_pr__nfet_01v8, w 5.0 l 0.15 m 1 nf 3 diffcov 100 polycov 100 guard 1 glc 1 grc 1 gtc 1 gbc 1 tbcov 100 rlcov 100 topc 1 botc 1 poverlap 0 doverlap 1 lmin 0.15 wmin 0.42 class mosfet compatible {sky130_fd_pr__nfet_01v8 sky130_fd_pr__nfet_01v8_lvt sky130_fd_bs_flash__special_sonosfet_star sky130_fd_pr__nfet_g5v0d10v5 sky130_fd_pr__nfet_05v0_nvt sky130_fd_pr__nfet_03v3_nvt} full_metal 1 conn_gates 0 viasrc 100 viadrn 100 viagate 100 viagb 0 viagr 0 viagl 0 viagt 0 doports 1

# cell sky130_fd_pr__pfet_01v8_FRYS2W: kit device sky130_fd_pr__pfet_01v8, w 2.3333333333333335 l 0.15 m 1 nf 3 diffcov 100 polycov 100 guard 1 glc 1 grc 1 gtc 1 gbc 1 tbcov 100 rlcov 100 topc 1 botc 1 poverlap 0 doverlap 1 lmin 0.15 wmin 0.42 class mosfet compatible {sky130_fd_pr__pfet_01v8 sky130_fd_pr__pfet_01v8_lvt sky130_fd_pr__pfet_01v8_hvt sky130_fd_pr__pfet_g5v0d10v5} full_metal 1 conn_gates 0 viasrc 100 viadrn 100 viagate 100 viagb 0 viagr 0 viagl 0 viagt 0 doports 1

# cell sky130_fd_pr__nfet_01v8_24CRNP: kit device sky130_fd_pr__nfet_01v8, w 0.7 l 0.15 m 1 nf 1 diffcov 100 polycov 100 guard 1 glc 1 grc 1 gtc 1 gbc 1 tbcov 100 rlcov 100 topc 1 botc 1 poverlap 0 doverlap 1 lmin 0.15 wmin 0.42 class mosfet compatible {sky130_fd_pr__nfet_01v8 sky130_fd_pr__nfet_01v8_lvt sky130_fd_bs_flash__special_sonosfet_star sky130_fd_pr__nfet_g5v0d10v5 sky130_fd_pr__nfet_05v0_nvt sky130_fd_pr__nfet_03v3_nvt} full_metal 1 conn_gates 0 viasrc 100 viadrn 100 viagate 100 viagb 0 viagr 0 viagl 0 viagt 0 doports 1

# cell sky130_fd_pr__pfet_01v8_DJSDVV: kit device sky130_fd_pr__pfet_01v8, w 0.7 l 0.15 m 1 nf 1 diffcov 100 polycov 100 guard 1 glc 1 grc 1 gtc 1 gbc 1 tbcov 100 rlcov 100 topc 1 botc 1 poverlap 0 doverlap 1 lmin 0.15 wmin 0.42 class mosfet compatible {sky130_fd_pr__pfet_01v8 sky130_fd_pr__pfet_01v8_lvt sky130_fd_pr__pfet_01v8_hvt sky130_fd_pr__pfet_g5v0d10v5} full_metal 1 conn_gates 0 viasrc 100 viadrn 100 viagate 100 viagb 0 viagr 0 viagl 0 viagt 0 doports 1

# cell sky130_fd_pr__nfet_01v8_NK2ZG9: kit device sky130_fd_pr__nfet_01v8, w 2.0 l 0.15 m 1 nf 1 diffcov 100 polycov 100 guard 1 glc 1 grc 1 gtc 1 gbc 1 tbcov 100 rlcov 100 topc 1 botc 1 poverlap 0 doverlap 1 lmin 0.15 wmin 0.42 class mosfet compatible {sky130_fd_pr__nfet_01v8 sky130_fd_pr__nfet_01v8_lvt sky130_fd_bs_flash__special_sonosfet_star sky130_fd_pr__nfet_g5v0d10v5 sky130_fd_pr__nfet_05v0_nvt sky130_fd_pr__nfet_03v3_nvt} full_metal 1 conn_gates 0 viasrc 100 viadrn 100 viagate 100 viagb 0 viagr 0 viagl 0 viagt 0 doports 1

# cell sky130_fd_pr__pfet_01v8_VJT448: kit device sky130_fd_pr__pfet_01v8, w 2.0 l 0.15 m 1 nf 1 diffcov 100 polycov 100 guard 1 glc 1 grc 1 gtc 1 gbc 1 tbcov 100 rlcov 100 topc 1 botc 1 poverlap 0 doverlap 1 lmin 0.15 wmin 0.42 class mosfet compatible {sky130_fd_pr__pfet_01v8 sky130_fd_pr__pfet_01v8_lvt sky130_fd_pr__pfet_01v8_hvt sky130_fd_pr__pfet_g5v0d10v5} full_metal 1 conn_gates 0 viasrc 100 viadrn 100 viagate 100 viagb 0 viagr 0 viagl 0 viagt 0 doports 1

# cell sky130_fd_pr__nfet_01v8_JPVZFC: kit device sky130_fd_pr__nfet_01v8, w 4.5 l 0.15 m 1 nf 1 diffcov 100 polycov 100 guard 1 glc 1 grc 1 gtc 1 gbc 1 tbcov 100 rlcov 100 topc 1 botc 1 poverlap 0 doverlap 1 lmin 0.15 wmin 0.42 class mosfet compatible {sky130_fd_pr__nfet_01v8 sky130_fd_pr__nfet_01v8_lvt sky130_fd_bs_flash__special_sonosfet_star sky130_fd_pr__nfet_g5v0d10v5 sky130_fd_pr__nfet_05v0_nvt sky130_fd_pr__nfet_03v3_nvt} full_metal 1 conn_gates 0 viasrc 100 viadrn 100 viagate 100 viagb 0 viagr 0 viagl 0 viagt 0 doports 1

# cell sky130_fd_pr__pfet_01v8_YNF6CZ: kit device sky130_fd_pr__pfet_01v8, w 4.5 l 0.15 m 1 nf 1 diffcov 100 polycov 100 guard 1 glc 1 grc 1 gtc 1 gbc 1 tbcov 100 rlcov 100 topc 1 botc 1 poverlap 0 doverlap 1 lmin 0.15 wmin 0.42 class mosfet compatible {sky130_fd_pr__pfet_01v8 sky130_fd_pr__pfet_01v8_lvt sky130_fd_pr__pfet_01v8_hvt sky130_fd_pr__pfet_g5v0d10v5} full_metal 1 conn_gates 0 viasrc 100 viadrn 100 viagate 100 viagb 0 viagr 0 viagl 0 viagt 0 doports 1
